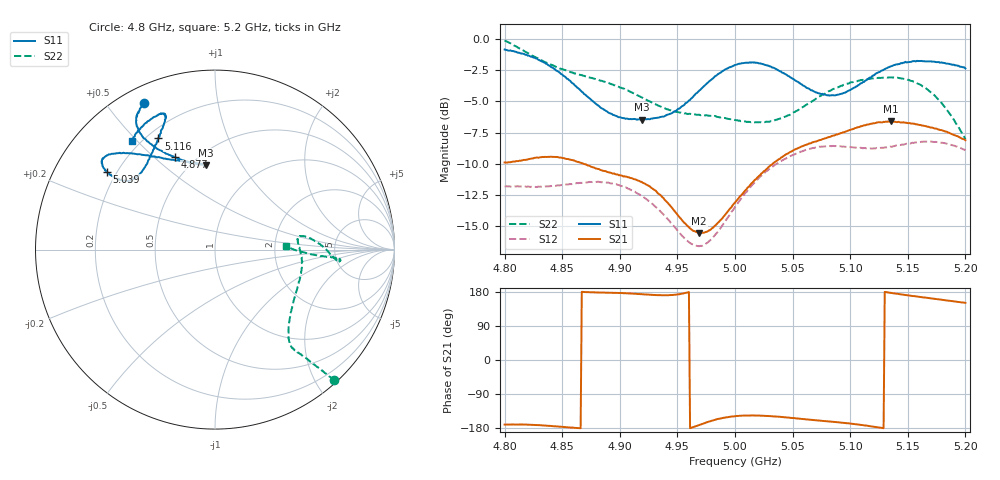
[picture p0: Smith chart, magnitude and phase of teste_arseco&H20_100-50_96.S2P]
! Network Analyzer HP8722D
! Hewlett-Packard
! Data name: Linha & Wilkinson
! Saver's name: Rodrigo Anjos
! Comments: Teste da utilização de aquisição
! continua pelo VNA HP8722D
! Time and date: 6/5/2025 13:22
!  Frequency  S11  S21  S12  S22
# HZ  S  MA R 50
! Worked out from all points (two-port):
!   401 points, 4.8 GHz to 5.2 GHz, reference 50 ohm
!   highest |S21| = -6.60 dB at 5.135 GHz (marker M1); lowest = -15.6 dB at 4.969 GHz (marker M2)
!   |S21| within 3 dB of the highest: 4.822 GHz to 4.853 GHz (31.11 MHz wide, 0.643 % of centre); 5.039 GHz to end of sweep
!   lowest |S11| = -6.5 dB at 4.919 GHz (marker M3), VSWR 2.81, Z = 29.2 + j35.6 ohm
!   |S11| at or under -10 dB: nowhere
!   |S22| runs from -8.0 to -0.1 dB; largest |S21 - S12| = 0.83
!   S11 on the Smith chart (normalised r, x): 4.8 GHz: 0.07, +0.63; 4.877 GHz: 0.39, +0.59; 5.039 GHz: 0.16, +0.32; 5.116 GHz: 0.24, +0.59; 5.2 GHz: 0.17, +0.48
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4.8e9  0.9066 115.7  0.3203 -170.5  0.2571 -86.2  0.9851 -47.5
4.833e9  0.8103 122.3  0.3369 -172.5  0.256 -77.3  0.8161 -49.7
4.848e9  0.7308 122.3  0.3347 -176.0  0.2591 -72.3  0.7611 -50.6
4.867e9  0.6145 117.8  0.3183 179.9  0.2654 -67.4  0.7157 -51.6
4.877e9  0.5611 113.4  0.3061 178.6  0.2678 -66.3  0.6946 -51.9
4.899e9  0.4857 101.7  0.2848 176.6  0.2602 -66.6  0.6429 -50.2
4.919e9  0.4748 96.1  0.2677 173.9  0.235 -68.7  0.5827 -45.0
4.934e9  0.4842 98.9  0.2392 171.0  0.2069 -69.4  0.5393 -37.4
4.947e9  0.5118 107.1  0.2059 171.9  0.1782 -67.1  0.5126 -29.0
4.969e9  0.6211 123.3  0.1667 -171.4  0.1481 -47.9  0.4971 -15.0
4.981e9  0.6956 129.9  0.1758 -159.2  0.1608 -34.0  0.4892 -8.8
5e9  0.786 137.2  0.2212 -148.5  0.2129 -21.5  0.4736 -0.3
5.018e9  0.8022 141.7  0.2742 -146.5  0.2693 -18.3  0.4643 5.7
5.039e9  0.7419 144.2  0.3309 -149.9  0.3224 -18.4  0.4796 8.9
5.067e9  0.6217 142.0  0.385 -158.0  0.3656 -20.6  0.563 4.7
5.088e9  0.5964 133.1  0.4143 -163.9  0.3724 -23.7  0.6374 -1.8
5.116e9  0.6949 117.0  0.4551 -174.1  0.3647 -26.9  0.6905 -5.3
5.134e9  0.7714 111.1  0.4655 177.8  0.369 -28.7  0.7012 -4.8
5.135e9  0.7754 111.1  0.4677 177.3  0.3707 -28.7  0.7011 -4.8
5.16e9  0.8152 112.2  0.4523 166.7  0.3863 -34.8  0.6582 -3.8
5.179e9  0.8045 118.5  0.4319 159.1  0.3839 -40.7  0.5562 -3.0
5.2e9  0.7614 127.3  0.3929 150.8  0.3585 -46.4  0.3964 2.5
